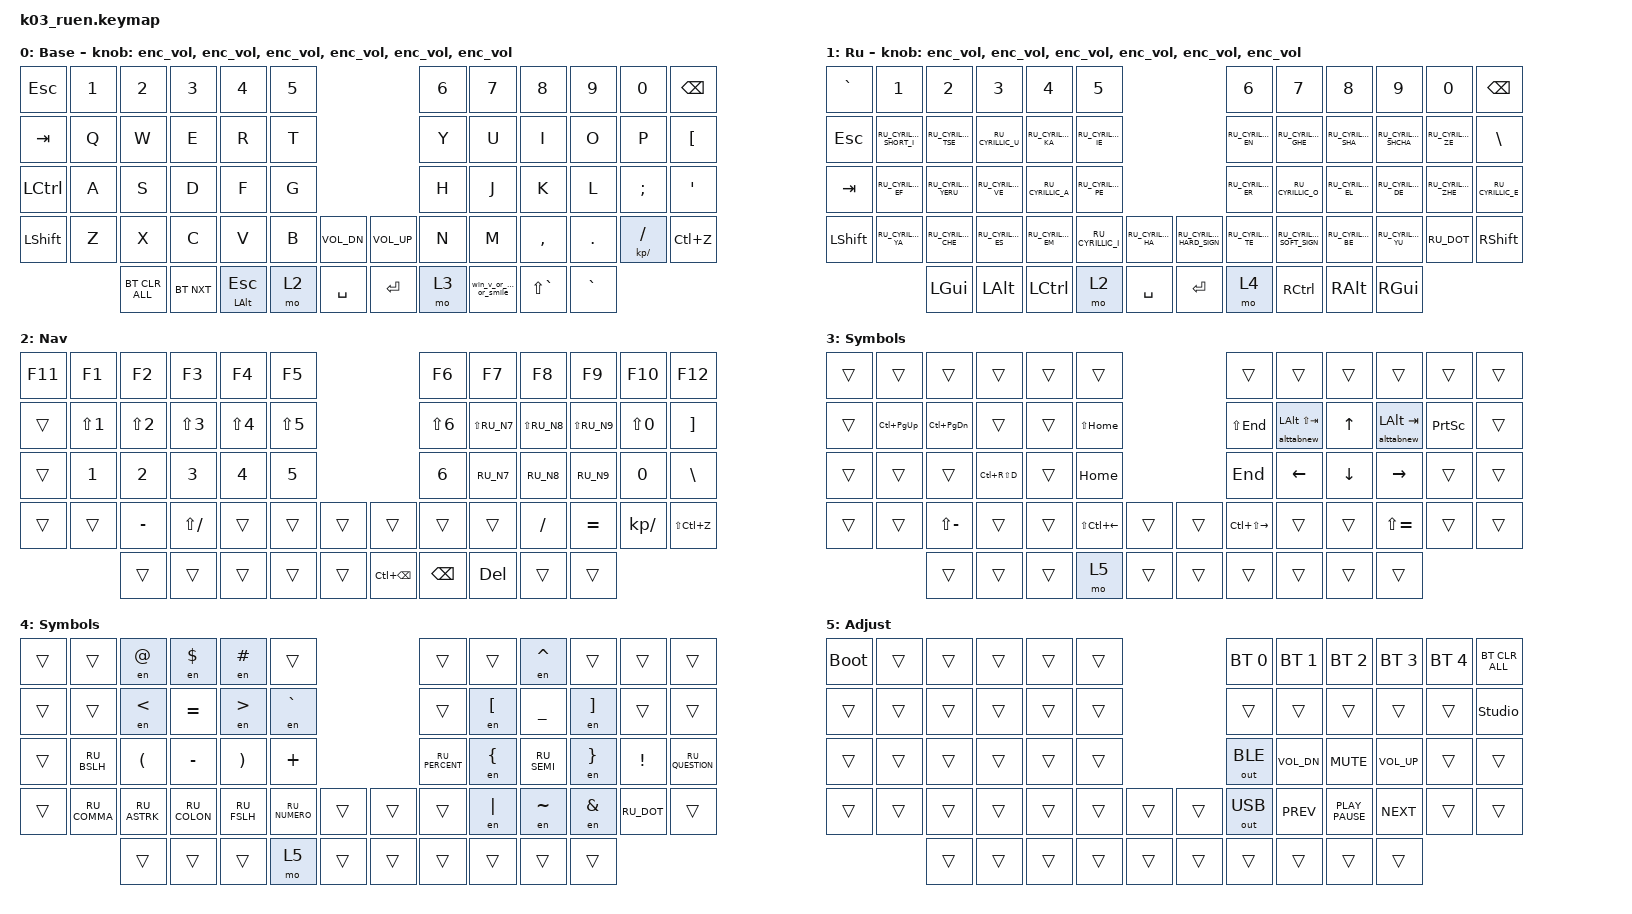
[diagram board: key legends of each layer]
#include "keys_ru.h"
#include <behaviors.dtsi>
#include <dt-bindings/zmk/bt.h>
#include <dt-bindings/zmk/keys.h>
#include <dt-bindings/zmk/outputs.h>

/ {
    behaviors {
        enc_vol: enc_vol {
            compatible = "zmk,behavior-sensor-rotate";
            label = "ENC_VOL";
            #sensor-binding-cells = <0>;
            bindings = <&kp C_VOL_UP>, <&kp C_VOL_DN>;
        };

        alt_tab_behavior: alt_tab_behavior {
            compatible = "zmk,behavior-sticky-key";
            label = "ALT_TAB_BEHAVIOR";
            bindings = <&kp>;
            #binding-cells = <1>;
            release-after-ms = <500>;
        };

        win_v_or_win_or_smile: win_v_or_win_or_smile {
            compatible = "zmk,behavior-tap-dance";
            label = "WIN_V_OR_WIN_OR_SMILE";
            #binding-cells = <0>;
            bindings = <&kp LEFT_WIN>, <&kp LG(V)>, <&kp LG(DOT)>;
        };
    };

    combos {
        compatible = "zmk,combos";

        changelang {
            bindings = <&kp LA(LEFT_SHIFT)>;
            key-positions = <45 46>;
        };

        sticky_shift {
            bindings = <&sk LEFT_SHIFT>;
            key-positions = <19 20>;
            slow-release;
            timeout-ms = <45>;
            require-prior-idle-ms = <120>;
        };
    };

    macros {
        to_ru: to_ru {
            compatible = "zmk,behavior-macro";
            #binding-cells = <0>;
            bindings = <&kp LS(LC(N2))>;
            label = "TO_RU";
            wait-ms = <0>;
            tap-ms = <30>;
        };

        to_en: to_en {
            compatible = "zmk,behavior-macro";
            #binding-cells = <0>;
            bindings = <&kp LS(LC(N1))>;
            label = "TO_EN";
            wait-ms = <0>;
            tap-ms = <30>;
        };

        layer_en: layer_en {
            compatible = "zmk,behavior-macro";
            #binding-cells = <0>;
            bindings = <&to 0 &to_en>;
            label = "LAYER_EN";
            wait-ms = <0>;
            tap-ms = <30>;
        };

        layer_ru: layer_ru {
            compatible = "zmk,behavior-macro";
            #binding-cells = <0>;
            bindings = <&to 1 &to_ru>;
            label = "LAYER_RU";
            tap-ms = <30>;
            wait-ms = <0>;
        };

        en: en {
            compatible = "zmk,behavior-macro-one-param";
            #binding-cells = <1>;
            bindings =
                <&to_en>,
                <&macro_press>,
                <&macro_param_1to1 &kp MACRO_PLACEHOLDER>,
                <&macro_pause_for_release>,
                <&macro_release>,
                <&macro_param_1to1 &kp MACRO_PLACEHOLDER>,
                <&macro_tap>,
                <&to_ru>;

            label = "EN";
            wait-ms = <0>;
            tap-ms = <30>;
        };

        alt_tab: alt_tab {
            compatible = "zmk,behavior-macro";
            #binding-cells = <0>;
            bindings =
                <&macro_press>,
                <&kp LEFT_ALT>,
                <&macro_tap>,
                <&kp TAB>,
                <&macro_tap>,
                <&sk LEFT_ALT>,
                <&macro_release>,
                <&kp LEFT_ALT>;

            label = "ALT_TAB";
            wait-ms = <80>;
            tap-ms = <20>;
        };

        alttabnew: alttabnew {
            compatible = "zmk,behavior-macro-two-param";
            #binding-cells = <2>;
            bindings =
                <&macro_press>,
                <&macro_param_1to1 &kp MACRO_PLACEHOLDER>,
                <&macro_tap>,
                <&macro_param_2to1 &kp MACRO_PLACEHOLDER &macro_param_1to1 &alt_tab_behavior MACRO_PLACEHOLDER>,
                <&macro_release>,
                <&macro_param_1to1 &kp MACRO_PLACEHOLDER>;

            label = "ALTTABNEW";
        };

        rewetka_ru: rewetka_ru {
            compatible = "zmk,behavior-macro";
            #binding-cells = <0>;
            bindings = <&kp LA(LEFT_SHIFT) &kp LS(NUMBER_3) &kp LA(LEFT_SHIFT)>;
            label = "REWETKA_RU";
        };

        bucks_ru: bucks_ru {
            compatible = "zmk,behavior-macro";
            #binding-cells = <0>;
            bindings = <&kp LA(LEFT_SHIFT) &kp LS(NUMBER_4) &kp LA(LEFT_SHIFT)>;
            label = "BUCKS_RU";
        };
    };

    keymap {
        compatible = "zmk,keymap";

        en {
            bindings = <
&kp ESC    &kp N1  &kp N2          &kp N3      &kp N4            &kp N5                                &kp N6  &kp N7                  &kp N8         &kp N9     &kp N0              &kp BSPC
&kp TAB    &kp Q   &kp W           &kp E       &kp R             &kp T                                 &kp Y   &kp U                   &kp I          &kp O      &kp P               &kp LEFT_BRACKET
&kp LCTRL  &kp A   &kp S           &kp D       &kp F             &kp G                                 &kp H   &kp J                   &kp K          &kp L      &kp SEMI            &kp SINGLE_QUOTE
&kp LSHFT  &kp Z   &kp X           &kp C       &kp V             &kp B   &kp C_VOL_DN    &kp C_VOL_UP  &kp N   &kp M                   &kp COMMA      &kp DOT    &mt KP_SLASH SLASH  &kp LC(Z)
                   &bt BT_CLR_ALL  &bt BT_NXT  &mt LEFT_ALT ESC  &mo 2   &kp SPACE       &kp ENTER     &mo 3   &win_v_or_win_or_smile  &kp LS(GRAVE)  &kp GRAVE
            >;

            display-name = "Base";
            sensor-bindings =
                <&enc_vol>,
                <&enc_vol>,
                <&enc_vol>,
                <&enc_vol>,
                <&enc_vol>,
                <&enc_vol>;
        };

        ru {
            display-name = "Ru";
            bindings = <
&kp GRAVE  &kp N1                   &kp N2                &kp N3              &kp N4              &kp N5                                                               &kp N6              &kp N7                     &kp N8               &kp N9                 &kp N0               &kp BSPC
&kp ESC    &kp RU_CYRILLIC_SHORT_I  &kp RU_CYRILLIC_TSE   &kp RU_CYRILLIC_U   &kp RU_CYRILLIC_KA  &kp RU_CYRILLIC_IE                                                   &kp RU_CYRILLIC_EN  &kp RU_CYRILLIC_GHE        &kp RU_CYRILLIC_SHA  &kp RU_CYRILLIC_SHCHA  &kp RU_CYRILLIC_ZE   &kp BSLH
&kp TAB    &kp RU_CYRILLIC_EF       &kp RU_CYRILLIC_YERU  &kp RU_CYRILLIC_VE  &kp RU_CYRILLIC_A   &kp RU_CYRILLIC_PE                                                   &kp RU_CYRILLIC_ER  &kp RU_CYRILLIC_O          &kp RU_CYRILLIC_EL   &kp RU_CYRILLIC_DE     &kp RU_CYRILLIC_ZHE  &kp RU_CYRILLIC_E
&kp LSHFT  &kp RU_CYRILLIC_YA       &kp RU_CYRILLIC_CHE   &kp RU_CYRILLIC_ES  &kp RU_CYRILLIC_EM  &kp RU_CYRILLIC_I   &kp RU_CYRILLIC_HA    &kp RU_CYRILLIC_HARD_SIGN  &kp RU_CYRILLIC_TE  &kp RU_CYRILLIC_SOFT_SIGN  &kp RU_CYRILLIC_BE   &kp RU_CYRILLIC_YU     &kp RU_DOT           &kp RSHFT
                                    &kp LGUI              &kp LALT            &kp LCTRL           &mo 2               &kp SPACE             &kp ENTER                  &mo 4               &kp RCTRL                  &kp RALT             &kp RGUI
            >;

            sensor-bindings =
                <&enc_vol>,
                <&enc_vol>,
                <&enc_vol>,
                <&enc_vol>,
                <&enc_vol>,
                <&enc_vol>;
        };

        nav {
            bindings = <
&kp F11  &kp F1      &kp F2            &kp F3            &kp F4            &kp F5                                         &kp F6         &kp F7         &kp F8         &kp F9         &kp F10       &kp F12
&trans   &kp LS(N1)  &kp LS(NUMBER_2)  &kp LS(NUMBER_3)  &kp LS(NUMBER_4)  &kp LS(NUMBER_5)                               &kp LS(N6)     &kp LS(RU_N7)  &kp LS(RU_N8)  &kp LS(RU_N9)  &kp LS(N0)    &kp RIGHT_BRACKET
&trans   &kp N1      &kp NUMBER_2      &kp NUMBER_3      &kp NUMBER_4      &kp NUMBER_5                                   &kp N6         &kp RU_N7      &kp RU_N8      &kp RU_N9      &kp N0        &kp BACKSLASH
&trans   &trans      &kp MINUS         &kp LS(SLASH)     &trans            &trans            &trans    &trans             &trans         &trans         &kp SLASH      &kp EQUAL      &kp KP_SLASH  &kp LS(LC(Z))
                     &trans            &trans            &trans            &trans            &trans    &kp LC(BACKSPACE)  &kp BACKSPACE  &kp DELETE     &trans         &trans
            >;

            display-name = "Nav";
        };

        sym_en {
            bindings = <
&trans  &trans           &trans             &trans         &trans  &trans                              &trans             &trans                       &trans    &trans                   &trans           &trans
&trans  &kp LC(PAGE_UP)  &kp LC(PAGE_DOWN)  &trans         &trans  &kp LS(HOME)                        &kp LS(END)        &alttabnew LEFT_ALT LS(TAB)  &kp UP    &alttabnew LEFT_ALT TAB  &kp PRINTSCREEN  &trans
&trans  &trans           &trans             &kp LC(RS(D))  &trans  &kp HOME                            &kp END            &kp LEFT                     &kp DOWN  &kp RIGHT                &trans           &trans
&trans  &trans           &kp LS(MINUS)      &trans         &trans  &kp LS(LC(LEFT))  &trans    &trans  &kp LC(LS(RIGHT))  &trans                       &trans    &kp LS(EQUAL)            &trans           &trans
                         &trans             &trans         &trans  &mo 5             &trans    &trans  &trans             &trans                       &trans    &trans
            >;

            display-name = "Symbols";
        };

        sym_ru {
            display-name = "Symbols";
            bindings = <
&trans  &trans        &en AT        &en DLLR      &en HASH     &trans                           &trans          &trans    &en CARET    &trans    &trans      &trans
&trans  &trans        &en LT        &kp EQUAL     &en GT       &en GRAVE                        &trans          &en LBKT  &kp UNDER    &en RBKT  &trans      &trans
&trans  &kp RU_BSLH   &kp LPAR      &kp MINUS     &kp RPAR     &kp PLUS                         &kp RU_PERCENT  &en LBRC  &kp RU_SEMI  &en RBRC  &kp EXCL    &kp RU_QUESTION
&trans  &kp RU_COMMA  &kp RU_ASTRK  &kp RU_COLON  &kp RU_FSLH  &kp RU_NUMERO  &trans    &trans  &trans          &en PIPE  &en TILDE    &en AMPS  &kp RU_DOT  &trans
                      &trans        &trans        &trans       &mo 5          &trans    &trans  &trans          &trans    &trans       &trans
            >;
        };

        adj {
            bindings = <
&bootloader  &trans  &trans  &trans  &trans  &trans                    &bt BT_SEL 0  &bt BT_SEL 1  &bt BT_SEL 2      &bt BT_SEL 3  &bt BT_SEL 4  &bt BT_CLR_ALL
&trans       &trans  &trans  &trans  &trans  &trans                    &trans        &trans        &trans            &trans        &trans        &studio_unlock
&trans       &trans  &trans  &trans  &trans  &trans                    &out OUT_BLE  &kp C_VOL_DN  &kp K_MUTE        &kp C_VOL_UP  &trans        &trans
&trans       &trans  &trans  &trans  &trans  &trans  &trans    &trans  &out OUT_USB  &kp K_PREV    &kp K_PLAY_PAUSE  &kp K_NEXT    &trans        &trans
                     &trans  &trans  &trans  &trans  &trans    &trans  &trans        &trans        &trans            &trans
            >;

            display-name = "Adjust";
        };
    };
};
